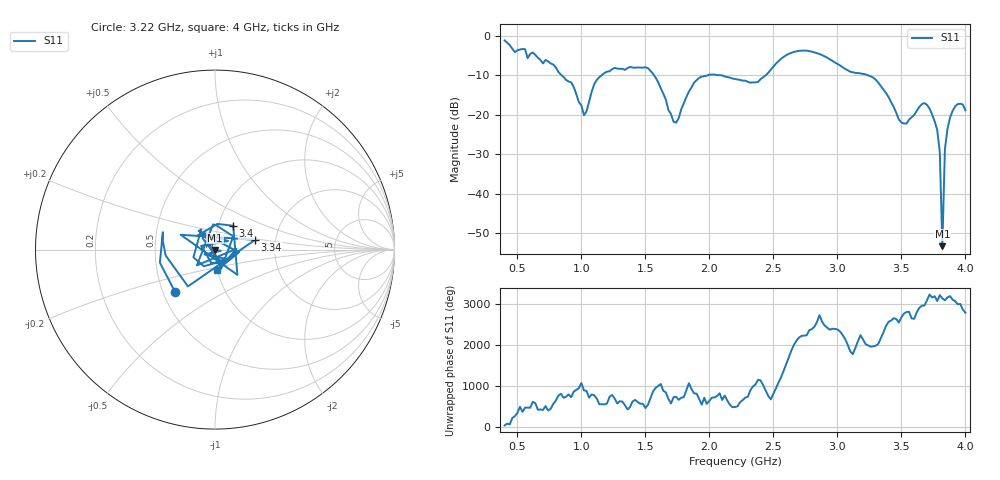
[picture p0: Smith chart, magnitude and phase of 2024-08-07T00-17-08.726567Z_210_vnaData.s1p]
!Created with skrf (http://scikit-rf.org).
# Hz S RI R 50.0
!freq ReS11 ImS11
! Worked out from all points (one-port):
!   181 points, 400 MHz to 4 GHz, reference 50 ohm
!   lowest |S11| = -53.3 dB at 3.82 GHz (marker M1), VSWR 1.00, Z = 50 - j0.217 ohm
!   |S11| at or under -10 dB: 1.567 GHz to 1.987 GHz (420.3 MHz wide, 23.6 % of centre); 2.089 GHz to 2.44 GHz (351 MHz wide, 15.5 % of centre); 3.238 GHz to end of sweep (the widest 3 of 4)
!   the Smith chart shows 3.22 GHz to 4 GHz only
!   S11 on the Smith chart (normalised r, x): 3.22 GHz: 0.58, -0.30; 3.34 GHz: 1.56, +0.18; 3.4 GHz: 1.18, +0.32; 4 GHz: 1.00, -0.23
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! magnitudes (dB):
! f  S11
! 400 MHz  -1.2
! 860 MHz  -10.4
! 940 MHz  -13.0
! 1.02 GHz  -20.1
! 1.12 GHz  -11.2
! 1.3 GHz  -8.4
! 1.52 GHz  -8.2
! 1.6 GHz  -11.8
! 1.72 GHz  -21.8
! 1.76 GHz  -20.9
! 1.92 GHz  -10.6
! 2.2 GHz  -10.9
! 2.38 GHz  -11.7
! 2.66 GHz  -4.1
! 3.1 GHz  -9.1
! 3.22 GHz  -9.8
! 3.34 GHz  -12.8
! 3.4 GHz  -15.5
! 3.5 GHz  -22.0
! 3.56 GHz  -21.2
! 3.68 GHz  -17.0
! 3.78 GHz  -23.9
! 3.8 GHz  -29.4
! 3.82 GHz  -53.3
! 3.84 GHz  -28.7
! 3.86 GHz  -23.6
! 3.92 GHz  -17.9
! 4 GHz  -18.9
